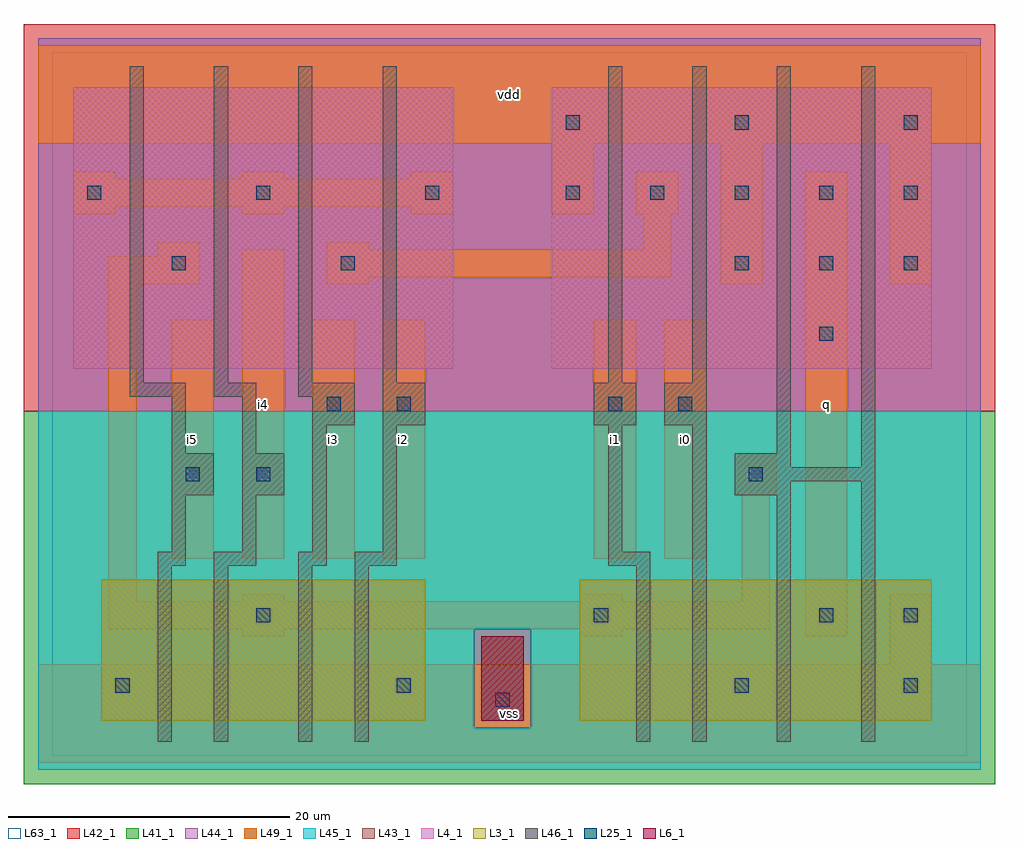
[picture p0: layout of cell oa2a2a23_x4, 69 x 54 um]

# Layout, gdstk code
import gdstk
lib = gdstk.Library(unit=1e-6, precision=1e-09)
def R(c, l, rs):  # rectangles x0, y0, x1, y1
    for r in rs: c.add(gdstk.rectangle(r[:2], r[2:], *l))
def A(c, l, x, y, w, h, nx, ny, dx, dy):  # array of equal rectangles
    R(c, l, [(x+i*dx, y+j*dy, x+i*dx+w, y+j*dy+h) for i in range(nx) for j in range(ny)])
L3_1 = (3, 1)
L4_1 = (4, 1)
L6_1 = (6, 1)
L25_1 = (25, 1)
L41_1 = (41, 1)
L42_1 = (42, 1)
L43_1 = (43, 1)
L44_1 = (44, 1)
L45_1 = (45, 1)
L46_1 = (46, 1)
L49_1 = (49, 1)
L63_1 = (63, 1)

oa2a2a23_x4 = lib.new_cell('oa2a2a23_x4')
R(oa2a2a23_x4, L3_1, [(3.5,2.5,26.5,12.5), (37.5,2.5,62.5,12.5)])
R(oa2a2a23_x4, L4_1, [(1.5,27.5,28.5,47.5), (35.5,27.5,62.5,47.5)])
R(oa2a2a23_x4, L6_1, [(30.5,2.5,33.5,8.5)])
A(oa2a2a23_x4, L25_1, 48.5, 34.5, 1, 1, 3, 1, 6, 0)
A(oa2a2a23_x4, L25_1, 2.5, 39.5, 1, 1, 3, 1, 12, 0)
A(oa2a2a23_x4, L25_1, 36.5, 39.5, 1, 1, 5, 1, 6, 0)
A(oa2a2a23_x4, L25_1, 36.5, 44.5, 1, 1, 3, 1, 12, 0)
R(oa2a2a23_x4, L25_1, [(31.5,3.5,32.5,4.5), (4.5,4.5,5.5,5.5), (24.5,4.5,25.5,5.5), (48.5,4.5,49.5,5.5), (60.5,4.5,61.5,5.5), (14.5,9.5,15.5,10.5), (38.5,9.5,39.5,10.5), (54.5,9.5,55.5,10.5), (60.5,9.5,61.5,10.5), (9.5,19.5,10.5,20.5), (14.5,19.5,15.5,20.5), (49.5,19.5,50.5,20.5), (19.5,24.5,20.5,25.5), (24.5,24.5,25.5,25.5), (39.5,24.5,40.5,25.5), (44.5,24.5,45.5,25.5), (54.5,29.5,55.5,30.5), (8.5,34.5,9.5,35.5), (20.5,34.5,21.5,35.5)])
R(oa2a2a23_x4, L41_1, [(-2,-2,67,24.5)])
R(oa2a2a23_x4, L42_1, [(-2,24.5,67,52)])
R(oa2a2a23_x4, L43_1, [(3.5,2.5,26.5,12.5), (30.5,2.5,33.5,8.5), (37.5,2.5,62.5,12.5), (1.5,27.5,28.5,47.5), (35.5,27.5,62.5,47.5)])
R(oa2a2a23_x4, L44_1, [(30,2,34,9), (-1,24.5,66,51)])
R(oa2a2a23_x4, L45_1, [(-1,-1,66,2), (-1,2,30,9), (34,2,66,9), (-1,9,66,24.5)])
A(oa2a2a23_x4, L46_1, 5.5, 26.5, 1, 22.5, 4, 1, 6, 0)
R(oa2a2a23_x4, L46_1, [(7.5,1,8.5,13.5), (11.5,1,12.5,13.5), (17.5,1,18.5,13.5), (21.5,1,22.5,13.5), (41.5,1,42.5,13.5), (45.5,1,46.5,23.5), (51.5,1,52.5,18.5), (57.5,1,58.5,19.5), (7.5,13.5,9.5,14.5), (11.5,13.5,14.5,14.5), (17.5,13.5,19.5,14.5), (21.5,13.5,24.5,14.5), (39.5,13.5,42.5,14.5), (8.5,14.5,9.5,18.5), (13.5,14.5,14.5,18.5), (18.5,14.5,19.5,23.5), (23.5,14.5,24.5,23.5), (39.5,14.5,40.5,23.5), (8.5,18.5,11.5,21.5), (13.5,18.5,16.5,21.5), (48.5,18.5,52.5,19.5), (48.5,19.5,58.5,20.5), (48.5,20.5,52.5,21.5), (57.5,20.5,58.5,49), (8.5,21.5,9.5,25.5), (13.5,21.5,14.5,25.5), (51.5,21.5,52.5,49), (18.5,23.5,21.5,25.5), (23.5,23.5,26.5,26.5), (38.5,23.5,41.5,26.5), (43.5,23.5,46.5,26.5), (5.5,25.5,9.5,26.5), (11.5,25.5,14.5,26.5), (17.5,25.5,21.5,26.5), (39.5,26.5,40.5,49), (45.5,26.5,46.5,49)])
A(oa2a2a23_x4, L49_1, 1.5, 38.5, 3, 0.5, 3, 2, 12, 2.5)
R(oa2a2a23_x4, L49_1, [(-1,-0.5,66,6.5), (59.5,6.5,62.5,11.5), (13.5,8.5,16.5,9), (37.5,8.5,40.5,9), (53.5,8.5,56.5,41.5), (4,9,51,11), (4,11,6,33.5), (13.5,11,16.5,11.5), (37.5,11,40.5,11.5), (49,11,51,18.5), (8.5,14,11.5,31), (13.5,14,16.5,36), (18.5,14,21.5,31), (23.5,14,26.5,31), (38.5,14,41.5,31), (43.5,14,46.5,31), (48.5,18.5,51.5,21.5), (4,33.5,10.5,35.5), (19.5,33.5,22.5,34), (47.5,33.5,50.5,43.5), (59.5,33.5,62.5,43.5), (19.5,34,44,36), (7.5,35.5,10.5,36.5), (19.5,36,22.5,36.5), (42,36,44,38.5), (35.5,38.5,38.5,43.5), (41.5,38.5,44.5,41.5), (1.5,39,28.5,41), (-1,43.5,66,50.5)])
R(oa2a2a23_x4, L63_1, [(0,0,65,50)])
oa2a2a23_x4.add(gdstk.Label('i5', (10,22.5), layer=49, texttype=1))
oa2a2a23_x4.add(gdstk.Label('i5', (10,22.5), layer=49, texttype=1))
oa2a2a23_x4.add(gdstk.Label('i3', (20,22.5), layer=49, texttype=1))
oa2a2a23_x4.add(gdstk.Label('i4', (15,25), layer=49, texttype=1))
oa2a2a23_x4.add(gdstk.Label('i4', (15,25), layer=49, texttype=1))
oa2a2a23_x4.add(gdstk.Label('i3', (20,22.5), layer=49, texttype=1))
oa2a2a23_x4.add(gdstk.Label('vss', (32.5,3), layer=49, texttype=1))
oa2a2a23_x4.add(gdstk.Label('vss', (32.5,3), layer=49, texttype=1))
oa2a2a23_x4.add(gdstk.Label('i2', (25,22.5), layer=49, texttype=1))
oa2a2a23_x4.add(gdstk.Label('i2', (25,22.5), layer=49, texttype=1))
oa2a2a23_x4.add(gdstk.Label('vdd', (32.5,47), layer=49, texttype=1))
oa2a2a23_x4.add(gdstk.Label('vdd', (32.5,47), layer=49, texttype=1))
oa2a2a23_x4.add(gdstk.Label('i1', (40,22.5), layer=49, texttype=1))
oa2a2a23_x4.add(gdstk.Label('i1', (40,22.5), layer=49, texttype=1))
oa2a2a23_x4.add(gdstk.Label('i0', (45,22.5), layer=49, texttype=1))
oa2a2a23_x4.add(gdstk.Label('i0', (45,22.5), layer=49, texttype=1))
oa2a2a23_x4.add(gdstk.Label('q', (55,25), layer=49, texttype=1))
oa2a2a23_x4.add(gdstk.Label('q', (55,25), layer=49, texttype=1))

lib.write_gds('oa2a2a23_x4.gds')
